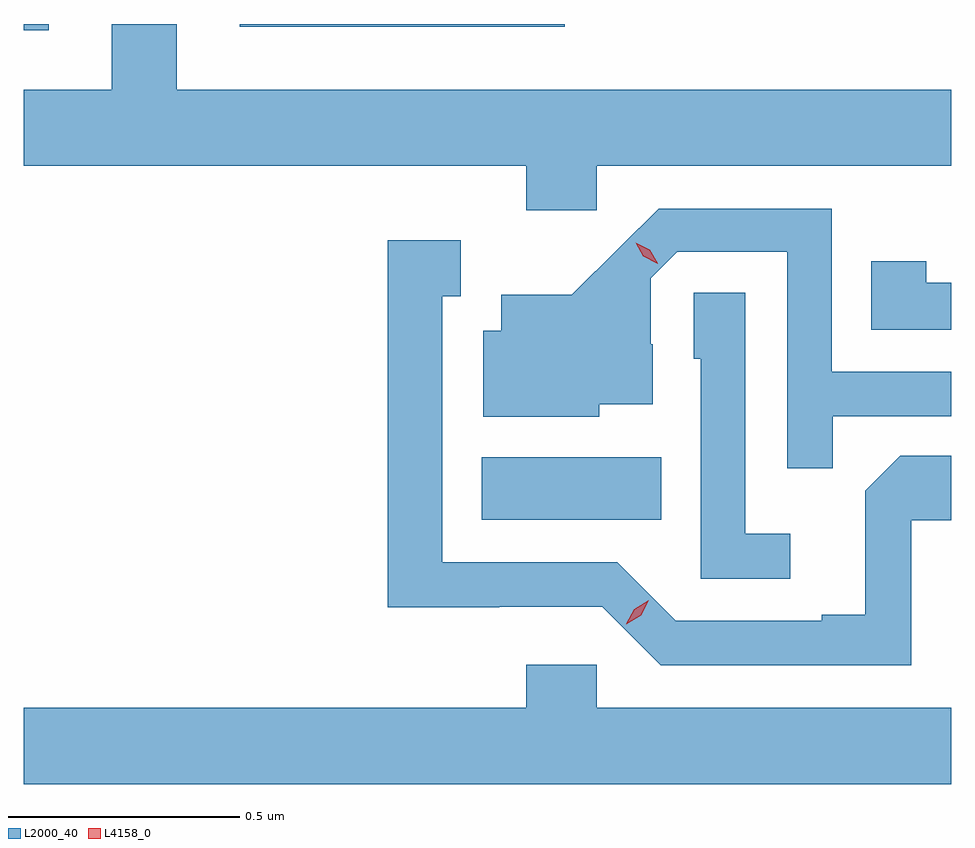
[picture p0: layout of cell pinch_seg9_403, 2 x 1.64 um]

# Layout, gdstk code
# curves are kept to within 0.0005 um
import gdstk
lib = gdstk.Library(unit=1e-6, precision=1e-09)
def R(c, l, rs):  # rectangles x0, y0, x1, y1
    for r in rs: c.add(gdstk.rectangle(r[:2], r[2:], *l))
def P(c, l, *ps):  # polygons
    for p in ps: c.add(gdstk.Polygon(p, *l))
L2000_40 = (2000, 40)
L4158_0 = (4158, 0)

pinch_seg9_403 = lib.new_cell('pinch_seg9_403')
R(pinch_seg9_403, L2000_40, [(326.735,1235.618,327.122,1235.752), (325.747,1236.672,325.801,1236.686), (326.213,1236.68,326.914,1236.686)])
P(pinch_seg9_403, L2000_40, [(326.982,1236.38),(327.747,1236.38),(327.747,1236.544),(326.077,1236.544),(326.077,1236.686),(325.937,1236.686),(325.937,1236.544),(325.747,1236.544),(325.747,1236.38),(326.831,1236.38),(326.831,1236.285),(326.982,1236.285)],
  [(327.491,1235.841),(327.747,1235.841),(327.747,1235.937),(327.489,1235.937),(327.489,1236.288),(327.116,1236.288),(326.929,1236.103),(326.777,1236.103),(326.777,1236.025),(326.738,1236.025),(326.738,1235.84),(326.988,1235.84),(326.988,1235.867),(327.103,1235.867),(327.103,1235.996),(327.099,1235.996),(327.099,1236.138),(327.156,1236.195),(327.393,1236.195),(327.393,1235.728),(327.491,1235.728)],
  [(327.66,1235.616),(327.747,1235.616),(327.747,1235.756),(327.637,1235.756),(327.561,1235.68),(327.561,1235.413),(327.467,1235.413),(327.467,1235.4),(327.153,1235.4),(327.027,1235.526),(326.65,1235.526),(326.65,1236.099),(326.689,1236.099),(326.689,1236.22),(326.532,1236.22),(326.532,1235.429),(326.772,1235.429),(326.772,1235.43),(326.994,1235.43),(327.12,1235.304),(327.66,1235.304)],
  [(327.747,1236.128),(327.693,1236.128),(327.693,1236.175),(327.574,1236.175),(327.574,1236.027),(327.747,1236.027)],
  [(327.4,1235.587),(327.303,1235.587),(327.303,1236.107),(327.192,1236.107),(327.192,1235.964),(327.207,1235.964),(327.207,1235.49),(327.4,1235.49)],
  [(327.747,1235.212),(326.982,1235.212),(326.982,1235.305),(326.831,1235.305),(326.831,1235.212),(325.747,1235.212),(325.747,1235.048),(327.747,1235.048)])
P(pinch_seg9_403, L4158_0, [(327.114,1236.169),(327.083,1236.185),(327.066,1236.214),(327.066,1236.215),(327.066,1236.215),(327.097,1236.199),(327.114,1236.17),(327.114,1236.169)],
  [(327.046,1235.392),(327.046,1235.393),(327.063,1235.425),(327.095,1235.444),(327.095,1235.444),(327.095,1235.444),(327.078,1235.412),(327.046,1235.392)])

lib.write_gds('pinch_seg9_403.gds')
